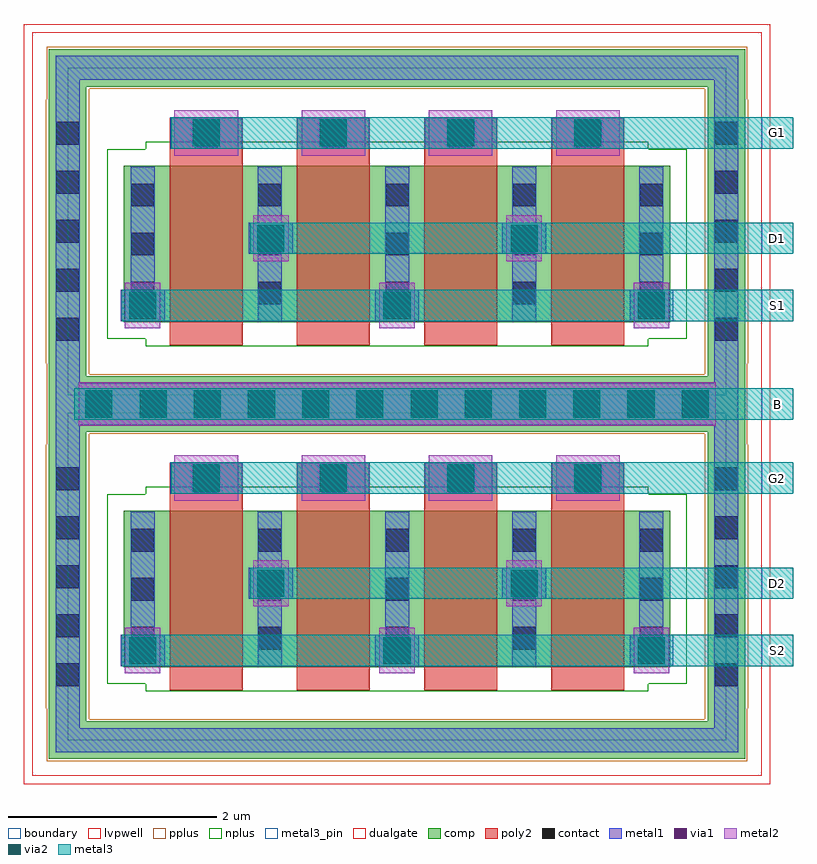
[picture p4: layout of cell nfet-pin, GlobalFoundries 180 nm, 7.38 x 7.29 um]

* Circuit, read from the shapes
.subckt nfet-pin B D1 D2 G1 G2 S1 S2
XM1 D2 G2 S2 B nfet_06v0 w=1.5u l=0.7u m=4
XM2 D1 G1 S1 B nfet_06v0 w=1.5u l=0.7u m=4
.ends

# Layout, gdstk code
import gdstk
lib = gdstk.Library(unit=1e-6, precision=1e-09)
def R(c, l, rs):  # rectangles x0, y0, x1, y1
    for r in rs: c.add(gdstk.rectangle(r[:2], r[2:], *l))
def A(c, l, x, y, w, h, nx, ny, dx, dy):  # array of equal rectangles
    R(c, l, [(x+i*dx, y+j*dy, x+i*dx+w, y+j*dy+h) for i in range(nx) for j in range(ny)])
boundary = (0, 0)
comp = (22, 0)
poly2 = (30, 0)
pplus = (31, 0)
nplus = (32, 0)
contact = (33, 0)
metal1 = (34, 0)
via1 = (35, 0)
metal2 = (36, 0)
via2 = (38, 0)
metal3 = (42, 0)
metal3_pin = (42, 10)
dualgate = (55, 0)
lvpwell = (204, 0)

nfet_06v0_52fgqa = lib.new_cell('nfet_06v0_52FGQA')
R(nfet_06v0_52fgqa, boundary, [(-3.16,-1.57,3.16,1.57)])
R(nfet_06v0_52fgqa, comp, [(-3.34,-1.75,3.34,-1.39), (-3.34,-1.39,-2.98,1.39), (2.98,-1.39,3.34,1.39), (-2.62,-0.87,2.62,0.63), (-3.34,1.39,3.34,1.75)])
A(nfet_06v0_52fgqa, poly2, -2.18, -1.09, 0.7, 2.18, 4, 1, 1.22, 0)
R(nfet_06v0_52fgqa, pplus, [(-3.36,-1.77,3.36,-1.37), (-3.36,-1.37,-2.95,-1.265), (2.95,-1.37,3.36,-1.265), (-3.37,-1.265,-2.95,1.265), (2.95,-1.265,3.37,1.265), (-3.36,1.265,-2.95,1.37), (2.95,1.265,3.36,1.37), (-3.36,1.37,3.36,1.77)])
R(nfet_06v0_52fgqa, nplus, [(-2.41,-1.1,2.41,-1.03), (-2.78,-1.03,2.78,0.79), (-2.41,0.79,2.41,0.86)])
A(nfet_06v0_52fgqa, contact, -3.27, -1.05, 0.22, 0.22, 1, 5, 0, 0.47)
A(nfet_06v0_52fgqa, contact, 3.05, -1.05, 0.22, 0.22, 1, 5, 0, 0.47)
A(nfet_06v0_52fgqa, contact, -2.55, -0.7, 0.22, 0.22, 5, 3, 1.22, 0.47)
A(nfet_06v0_52fgqa, contact, -1.94, 0.8, 0.22, 0.22, 4, 1, 1.22, 0)
A(nfet_06v0_52fgqa, metal1, -2.555, -0.86, 0.23, 1.48, 5, 1, 1.22, 0)
A(nfet_06v0_52fgqa, metal1, -2.17, 0.795, 0.68, 0.23, 4, 1, 1.22, 0)
R(nfet_06v0_52fgqa, metal1, [(-3.275,-1.685,3.275,-1.455), (-3.275,-1.455,-3.045,1.455), (3.045,-1.455,3.275,1.455), (-3.275,1.455,3.275,1.685)])
R(nfet_06v0_52fgqa, dualgate, [(-3.58,-1.99,3.58,1.99)])
R(nfet_06v0_52fgqa, lvpwell, [(-3.5,-1.91,3.5,1.91)])

nfet_pin = lib.new_cell('nfet-pin')
A(nfet_pin, metal1, 0.51, -11.455, 0.42, 0.3, 3, 2, 2.44, 3.31)
A(nfet_pin, metal1, 0.605, -11.155, 0.23, 1.18, 3, 1, 2.44, 0)
A(nfet_pin, metal1, 0.985, -9.8, 0.69, 0.3, 4, 2, 1.22, 3.31)
R(nfet_pin, metal1, [(6.205,-11.525,6.435,-9.43), (1.825,-11.455,2.055,-10.81), (4.265,-11.455,4.495,-10.81), (1.74,-10.81,2.16,-10.51), (4.17,-10.81,4.59,-10.51), (1.825,-10.51,2.055,-9.975), (4.265,-10.51,4.495,-9.975), (0.065,-9.09,6.255,-8.79), (1.74,-7.5,2.16,-7.2), (4.17,-7.5,4.59,-7.2)])
A(nfet_pin, via1, 0.59, -11.435, 0.26, 0.26, 3, 2, 2.44, 3.31)
A(nfet_pin, via1, 1.2, -9.78, 0.26, 0.26, 4, 2, 1.22, 3.31)
A(nfet_pin, via1, 0.17, -9.07, 0.26, 0.26, 12, 1, 0.52, 0)
R(nfet_pin, via1, [(1.82,-10.79,2.08,-10.53), (4.25,-10.79,4.51,-10.53), (1.82,-7.48,2.08,-7.22), (4.25,-7.48,4.51,-7.22)])
A(nfet_pin, metal2, 0.55, -11.525, 0.34, 0.44, 3, 2, 2.44, 3.31)
A(nfet_pin, metal2, 1.025, -9.87, 0.61, 0.44, 4, 2, 1.22, 3.31)
R(nfet_pin, metal2, [(1.78,-10.88,2.12,-10.44), (4.21,-10.88,4.55,-10.44), (0.105,-9.15,6.215,-8.73), (1.78,-7.57,2.12,-7.13), (4.21,-7.57,4.55,-7.13)])
A(nfet_pin, via2, 0.59, -11.435, 0.26, 0.26, 3, 2, 2.44, 3.31)
A(nfet_pin, via2, 1.2, -9.78, 0.26, 0.26, 4, 2, 1.22, 3.31)
A(nfet_pin, via2, 0.17, -9.07, 0.26, 0.26, 12, 1, 0.52, 0)
R(nfet_pin, via2, [(1.82,-10.79,2.08,-10.53), (4.25,-10.79,4.51,-10.53), (1.82,-7.48,2.08,-7.22), (4.25,-7.48,4.51,-7.22)])
R(nfet_pin, metal3, [(0.52,-11.455,6.96,-11.155), (1.75,-10.81,6.96,-10.51), (0.995,-9.8,6.96,-9.5), (0.065,-9.09,6.96,-8.79), (0.52,-8.145,6.96,-7.845), (1.75,-7.5,6.96,-7.2), (0.995,-6.49,6.96,-6.19)])
R(nfet_pin, metal3_pin, [(6.66,-11.455,6.96,-11.155), (6.66,-10.81,6.96,-10.51), (6.66,-9.8,6.96,-9.5), (6.66,-9.09,6.96,-8.79), (6.66,-8.145,6.96,-7.845), (6.66,-7.5,6.96,-7.2), (6.66,-6.49,6.96,-6.19)])
nfet_pin.add(gdstk.Reference(nfet_06v0_52fgqa, (3.16,-10.595)))
nfet_pin.add(gdstk.Reference(nfet_06v0_52fgqa, (3.16,-7.285)))
nfet_pin.add(gdstk.Label('G1', (6.81,-6.34), layer=42, texttype=10))
nfet_pin.add(gdstk.Label('D1', (6.81,-7.35), layer=42, texttype=10))
nfet_pin.add(gdstk.Label('S1', (6.81,-7.995), layer=42, texttype=10))
nfet_pin.add(gdstk.Label('G2', (6.81,-9.65), layer=42, texttype=10))
nfet_pin.add(gdstk.Label('D2', (6.81,-10.66), layer=42, texttype=10))
nfet_pin.add(gdstk.Label('S2', (6.81,-11.305), layer=42, texttype=10))
nfet_pin.add(gdstk.Label('B', (6.81,-8.94), layer=42, texttype=10))

lib.write_gds('nfet-pin.gds')
